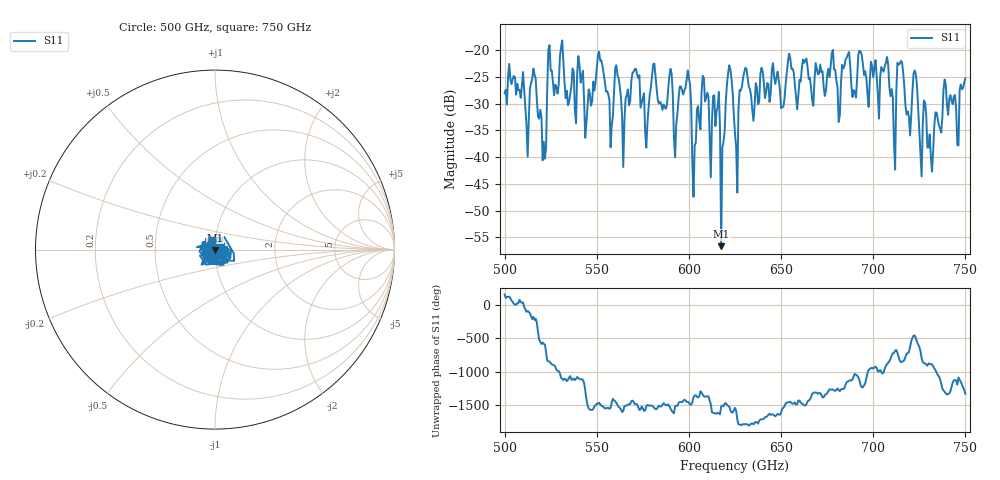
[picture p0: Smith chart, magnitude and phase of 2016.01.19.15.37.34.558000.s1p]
!Created with skrf (http://scikit-rf.org).
# GHz S RI R 50.0
!freq ReS11 ImS11
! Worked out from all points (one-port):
!   401 points, 500 GHz to 750 GHz, reference 50 ohm
!   lowest |S11| = -56.7 dB at 617.5 GHz (marker M1), VSWR 1.00, Z = 50 - j0.146 ohm
!   |S11| at or under -10 dB: start of sweep to end of sweep
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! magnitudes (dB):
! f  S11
! 500 GHz  -28.0
! 512.5 GHz  -39.9
! 515.6 GHz  -23.4
! 521.2 GHz  -37.1
! 524.4 GHz  -19.0
! 531.2 GHz  -18.1
! 544.4 GHz  -33.7
! 551.2 GHz  -20.3
! 557.5 GHz  -38.2
! 562.5 GHz  -26.8
! 593.8 GHz  -31.9
! 599.4 GHz  -23.7
! 603.1 GHz  -37.8
! 608.8 GHz  -29.6
! 617.5 GHz  -56.7
! 621.9 GHz  -22.8
! 625 GHz  -35.7
! 630.6 GHz  -23.3
! 656.2 GHz  -23.4
! 687.5 GHz  -22.8
! 706.9 GHz  -22.3
! 710.6 GHz  -28.8
! 714.4 GHz  -22.6
! 718.8 GHz  -31.4
! 722.5 GHz  -23.8
! 725.6 GHz  -39.2
! 731.2 GHz  -39.9
! 750 GHz  -25.2
